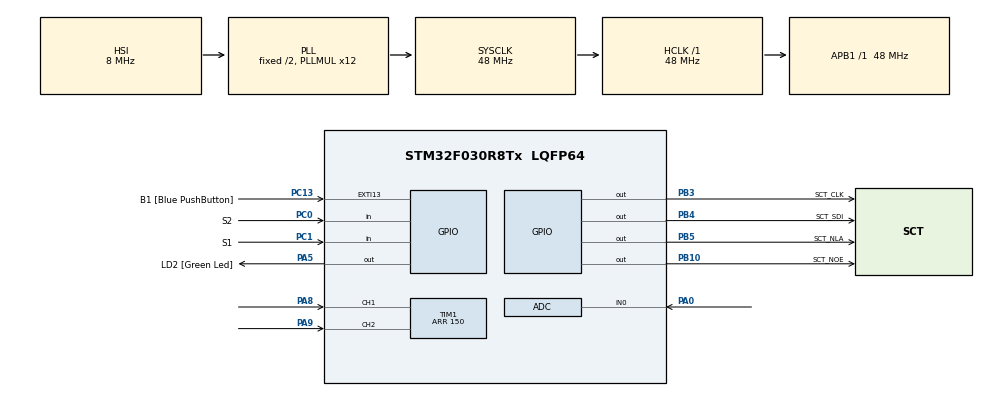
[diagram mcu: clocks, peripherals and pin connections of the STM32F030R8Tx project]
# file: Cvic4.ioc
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ADC.ContinuousConvMode=ENABLE
ADC.Overrun=ADC_OVR_DATA_OVERWRITTEN
ADC.SamplingTime=ADC_SAMPLETIME_239CYCLES_5
Mcu.Family=STM32F0
Mcu.Name=STM32F030R8Tx
Mcu.Package=LQFP64
NVIC.ADC1_IRQn=true\:0\:0\:false\:false\:true\:true\:true\:true
PA0.Mode=IN0
PA0.Signal=ADC_IN0
PA13.GPIO_Label=TMS
PA13.Mode=Serial_Wire
PA13.Signal=SYS_SWDIO
PA14.GPIO_Label=TCK
PA14.Mode=Serial_Wire
PA14.Signal=SYS_SWCLK
PA5.GPIO_Label=LD2 [Green Led]
PA5.GPIO_Mode=GPIO_MODE_OUTPUT_PP
PA5.GPIO_PuPd=GPIO_NOPULL
PA5.GPIO_Speed=GPIO_SPEED_FREQ_LOW
PA5.Signal=GPIO_Output
PA8.Signal=S_TIM1_CH1
PA9.Signal=S_TIM1_CH2
PB10.GPIO_Label=SCT_NOE
PB10.Signal=GPIO_Output
PB3.GPIO_Label=SCT_CLK
PB3.Signal=GPIO_Output
PB4.GPIO_Label=SCT_SDI
PB4.Signal=GPIO_Output
PB5.GPIO_Label=SCT_NLA
PB5.Signal=GPIO_Output
PC0.GPIO_Label=S2
PC0.GPIO_PuPd=GPIO_PULLUP
PC0.Signal=GPIO_Input
PC1.GPIO_Label=S1
PC1.GPIO_PuPd=GPIO_PULLUP
PC1.Signal=GPIO_Input
PC13.GPIO_Label=B1 [Blue PushButton]
PC13.GPIO_ModeDefaultEXTI=GPIO_MODE_IT_FALLING
PC13.Signal=GPXTI13
PC14-OSC32_IN.Mode=LSE-External-Oscillator
PC14-OSC32_IN.Signal=RCC_OSC32_IN
PC15-OSC32_OUT.Mode=LSE-External-Oscillator
PC15-OSC32_OUT.Signal=RCC_OSC32_OUT
PF0-OSC_IN.Mode=HSE-External-Clock-Source
PF0-OSC_IN.Signal=RCC_OSC_IN
PF1-OSC_OUT.Signal=RCC_OSC_OUT
ProjectManager.HeapSize=0x200
ProjectManager.StackSize=0x400
ProjectManager.TargetToolchain=STM32CubeIDE
RCC.AHBFreq_Value=48000000
RCC.APB1Freq_Value=48000000
RCC.APB1TimFreq_Value=48000000
RCC.HCLKFreq_Value=48000000
RCC.PLLMUL=RCC_PLL_MUL12
RCC.SYSCLKFreq_VALUE=48000000
RCC.SYSCLKSource=RCC_SYSCLKSOURCE_PLLCLK
SH.S_TIM1_CH1.0=TIM1_CH1,Encoder_Interface
SH.S_TIM1_CH2.0=TIM1_CH2,Encoder_Interface
TIM1.AutoReloadPreload=TIM_AUTORELOAD_PRELOAD_DISABLE
TIM1.IC1Polarity=TIM_ICPOLARITY_FALLING
TIM1.Period=150
VP_ADC_TempSens_Input.Mode=IN-TempSens
VP_ADC_Vref_Input.Mode=IN-Vrefint
board=NUCLEO-F030R8

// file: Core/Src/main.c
/* USER CODE BEGIN Header */
/**
  ******************************************************************************
  * @file           : main.c
  * @brief          : Main program body
  ******************************************************************************
  * @attention
  *
  * Copyright (c) 2022 STMicroelectronics.
  * All rights reserved.
  *
  * This software is licensed under terms that can be found in the LICENSE file
  * in the root directory of this software component.
  * If no LICENSE file comes with this software, it is provided AS-IS.
  *
  ******************************************************************************
  */
/* USER CODE END Header */
#include "main.h"

/* USER CODE BEGIN Includes */
#include "shift_reg.h"
/* USER CODE END Includes */

/* USER CODE BEGIN PD */
// max value of ADC
#define RANGE_12b 4095
// ADC exp. integration
#define ADC_Q 12

/* Temperature sensor calibration value address */
#define TEMP110_CAL_ADDR ((uint16_t*) ((uint32_t) 0x1FFFF7C2))
#define TEMP30_CAL_ADDR ((uint16_t*) ((uint32_t) 0x1FFFF7B8))
/* Internal voltage reference calibration value address */
#define VREFINT_CAL_ADDR ((uint16_t*) ((uint32_t) 0x1FFFF7BA))
#define BUTTON_REFRESH_TIME 4 //ms

#define BUTTON_S1 (1<<0)
#define BUTTON_S2 (1<<1)
// LED1
#define LED1_BIT (1<<4) //PA4
#define LED1_PORT GPIOA
// LED2
#define LED2_BIT (1<<0) //PB0
#define LED2_PORT GPIOB
// S1 button
#define S1_BIT (1<<1) //PC1
#define S1_PORT GPIOC
// S2 button
#define S2_BIT (1<<0) //PC0, EXTI0
#define S2_PORT GPIOC

#define SECOND_SCREEN_TIME 1000 //ms
/* USER CODE END PD */

ADC_HandleTypeDef hadc;

TIM_HandleTypeDef htim1;

void SystemClock_Config(void);
static void MX_GPIO_Init(void);
static void MX_TIM1_Init(void);
static void MX_ADC_Init(void);
/* USER CODE BEGIN PFP */
uint32_t map(uint32_t x, uint32_t in_min, uint32_t in_max, uint32_t out_min, uint32_t out_max) {
  return (x - in_min) * (out_max - out_min) / (in_max - in_min) + out_min;
}
/* USER CODE END PFP */

/* USER CODE BEGIN 0 */
// My callbacks
static volatile uint32_t raw_pot;
static volatile uint32_t raw_temp;
static volatile uint32_t raw_volt;

void HAL_ADC_ConvCpltCallback(ADC_HandleTypeDef* hadc)
{
	static uint8_t channel=0;
	static uint32_t avg_pot;

	switch (channel) {
		case 0: // ADC IN0 channel
			raw_pot = avg_pot >> ADC_Q;
		    avg_pot -= raw_pot;
		    avg_pot += HAL_ADC_GetValue(hadc);
			break;

		case 1: // ADC TEMP channel
			raw_temp = HAL_ADC_GetValue(hadc);
			break;

		case 2: // ADC VOLT channel
			raw_volt = HAL_ADC_GetValue(hadc);
			break;

		default:
			raw_pot = avg_pot >> ADC_Q;
			avg_pot -= raw_pot;
			avg_pot += HAL_ADC_GetValue(hadc);
			break;
	}

	if (__HAL_ADC_GET_FLAG(hadc, ADC_FLAG_EOS)) channel = 0;
	else channel++;
}
//Button operation
uint8_t read_buttons(void) {
	static uint32_t delay;

	static uint16_t debounce_s1 = 0xFFFF;
	static uint16_t debounce_s2 = 0xFFFF;
	static uint32_t pushed_buttons = 0;

	// sample every 4ms
	if (HAL_GetTick() > delay + BUTTON_REFRESH_TIME) {
		delay = uwTick;
		pushed_buttons = 0;

		// S1 debounce
		debounce_s1 <<= 1;
		if (S1_PORT->IDR & S1_BIT) debounce_s1 |= 0x0001;
		if (debounce_s1 == 0x8000 || debounce_s1 == 0) {
			// S1 operation
			pushed_buttons |= BUTTON_S1; // active on push and hold
		}

		// S2 debounce
		debounce_s2 <<= 1;
		if (S2_PORT->IDR & S2_BIT) debounce_s2 |= 0x0001;
		if (debounce_s2 == 0x8000 || debounce_s2 == 0) {
			// S2 operation
			pushed_buttons |= BUTTON_S2; // actiove on push and hold
		}
	}
	return pushed_buttons;
}

/* USER CODE END 0 */

int main(void)
{

  /* MCU Configuration--------------------------------------------------------*/

  /* Reset of all peripherals, Initializes the Flash interface and the Systick. */
  HAL_Init();

  /* Configure the system clock */
  SystemClock_Config();

  /* Initialize all configured peripherals */
  MX_GPIO_Init();
  MX_TIM1_Init();
  MX_ADC_Init();
  /* USER CODE BEGIN 2 */
  // init LED disp
  sct_init();
  sct_led(0x7A5C36DE); // show bye msg

  HAL_ADCEx_Calibration_Start(&hadc); // ADC auto calibration
  HAL_ADC_Start_IT(&hadc); // ADC start
  HAL_Delay(300);
  // todo need to be static?
  static enum { SHOW_POT, SHOW_VOLT, SHOW_TEMP } state = SHOW_POT;
  /* USER CODE END 2 */

  /* Infinite loop */
  /* USER CODE BEGIN WHILE */
  while (1)
  {

	  // convert value from ADC
	  uint32_t disp_val = map(raw_pot,0,4095,0,500);
	  uint8_t bargraf_val = map(raw_pot,0,4090,0,8);
	  if (bargraf_val > 8) bargraf_val = 8; // limit bargraf

	  // compute voltage from ADC
	  uint32_t voltage = 330 * (*VREFINT_CAL_ADDR) / raw_volt;

	  // compute temperature from ADC
	  int32_t temperature = (raw_temp - (int32_t)(*TEMP30_CAL_ADDR));
	  temperature = temperature * (int32_t)(110 - 30);
	  temperature = temperature / (int32_t)(*TEMP110_CAL_ADDR - *TEMP30_CAL_ADDR);
	  temperature = temperature + 30;

	  // read actual debounced button state
	  uint8_t pushed_buttons = read_buttons();

	  uint32_t time_off = 0; // init timer

	  // operation on buttons
	  if (pushed_buttons == BUTTON_S1) {
		  state = SHOW_TEMP; // pushed S1
		  time_off = HAL_GetTick() + SECOND_SCREEN_TIME;
	  } else if (pushed_buttons == BUTTON_S2) {
		  state = SHOW_VOLT;  // pushed S2
		  time_off = HAL_GetTick() + SECOND_SCREEN_TIME;
	  }

	  //return to home display, after while
	  if (HAL_GetTick() > time_off && state != SHOW_POT) state= SHOW_POT;

	  // display value due to actual state
	  switch (state) {
		case SHOW_POT:
		    sct_value(disp_val, bargraf_val);
			break;

		case SHOW_VOLT:
			sct_value(voltage,0);
			HAL_Delay(1000);
			break;

		case SHOW_TEMP:
			sct_value(temperature,0);
			HAL_Delay(1000);
		   break;
		default:
			break;
	}
    /* USER CODE END WHILE */

  }
}

void SystemClock_Config(void)
{
  RCC_OscInitTypeDef RCC_OscInitStruct = {0};
  RCC_ClkInitTypeDef RCC_ClkInitStruct = {0};

  /** Initializes the RCC Oscillators according to the specified parameters
  * in the RCC_OscInitTypeDef structure.
  */
  RCC_OscInitStruct.OscillatorType = RCC_OSCILLATORTYPE_HSI|RCC_OSCILLATORTYPE_HSI14;
  RCC_OscInitStruct.HSIState = RCC_HSI_ON;
  RCC_OscInitStruct.HSI14State = RCC_HSI14_ON;
  RCC_OscInitStruct.HSICalibrationValue = RCC_HSICALIBRATION_DEFAULT;
  RCC_OscInitStruct.HSI14CalibrationValue = 16;
  RCC_OscInitStruct.PLL.PLLState = RCC_PLL_ON;
  RCC_OscInitStruct.PLL.PLLSource = RCC_PLLSOURCE_HSI;
  RCC_OscInitStruct.PLL.PLLMUL = RCC_PLL_MUL12;
  RCC_OscInitStruct.PLL.PREDIV = RCC_PREDIV_DIV1;
  if (HAL_RCC_OscConfig(&RCC_OscInitStruct) != HAL_OK)
  {
    Error_Handler();
  }

  /** Initializes the CPU, AHB and APB buses clocks
  */
  RCC_ClkInitStruct.ClockType = RCC_CLOCKTYPE_HCLK|RCC_CLOCKTYPE_SYSCLK
                              |RCC_CLOCKTYPE_PCLK1;
  RCC_ClkInitStruct.SYSCLKSource = RCC_SYSCLKSOURCE_PLLCLK;
  RCC_ClkInitStruct.AHBCLKDivider = RCC_SYSCLK_DIV1;
  RCC_ClkInitStruct.APB1CLKDivider = RCC_HCLK_DIV1;

  if (HAL_RCC_ClockConfig(&RCC_ClkInitStruct, FLASH_LATENCY_1) != HAL_OK)
  {
    Error_Handler();
  }
}

static void MX_ADC_Init(void)
{

  ADC_ChannelConfTypeDef sConfig = {0};

  /** Configure the global features of the ADC (Clock, Resolution, Data Alignment and number of conversion)
  */
  hadc.Instance = ADC1;
  hadc.Init.ClockPrescaler = ADC_CLOCK_ASYNC_DIV1;
  hadc.Init.Resolution = ADC_RESOLUTION_12B;
  hadc.Init.DataAlign = ADC_DATAALIGN_RIGHT;
  hadc.Init.ScanConvMode = ADC_SCAN_DIRECTION_FORWARD;
  hadc.Init.EOCSelection = ADC_EOC_SINGLE_CONV;
  hadc.Init.LowPowerAutoWait = DISABLE;
  hadc.Init.LowPowerAutoPowerOff = DISABLE;
  hadc.Init.ContinuousConvMode = ENABLE;
  hadc.Init.DiscontinuousConvMode = DISABLE;
  hadc.Init.ExternalTrigConv = ADC_SOFTWARE_START;
  hadc.Init.ExternalTrigConvEdge = ADC_EXTERNALTRIGCONVEDGE_NONE;
  hadc.Init.DMAContinuousRequests = DISABLE;
  hadc.Init.Overrun = ADC_OVR_DATA_OVERWRITTEN;
  if (HAL_ADC_Init(&hadc) != HAL_OK)
  {
    Error_Handler();
  }

  /** Configure for the selected ADC regular channel to be converted.
  */
  sConfig.Channel = ADC_CHANNEL_0;
  sConfig.Rank = ADC_RANK_CHANNEL_NUMBER;
  sConfig.SamplingTime = ADC_SAMPLETIME_239CYCLES_5;
  if (HAL_ADC_ConfigChannel(&hadc, &sConfig) != HAL_OK)
  {
    Error_Handler();
  }

  /** Configure for the selected ADC regular channel to be converted.
  */
  sConfig.Channel = ADC_CHANNEL_TEMPSENSOR;
  if (HAL_ADC_ConfigChannel(&hadc, &sConfig) != HAL_OK)
  {
    Error_Handler();
  }

  /** Configure for the selected ADC regular channel to be converted.
  */
  sConfig.Channel = ADC_CHANNEL_VREFINT;
  if (HAL_ADC_ConfigChannel(&hadc, &sConfig) != HAL_OK)
  {
    Error_Handler();
  }

}

static void MX_TIM1_Init(void)
{

  TIM_Encoder_InitTypeDef sConfig = {0};
  TIM_MasterConfigTypeDef sMasterConfig = {0};

  htim1.Instance = TIM1;
  htim1.Init.Prescaler = 0;
  htim1.Init.CounterMode = TIM_COUNTERMODE_UP;
  htim1.Init.Period = 150;
  htim1.Init.ClockDivision = TIM_CLOCKDIVISION_DIV1;
  htim1.Init.RepetitionCounter = 0;
  htim1.Init.AutoReloadPreload = TIM_AUTORELOAD_PRELOAD_DISABLE;
  sConfig.EncoderMode = TIM_ENCODERMODE_TI1;
  sConfig.IC1Polarity = TIM_ICPOLARITY_FALLING;
  sConfig.IC1Selection = TIM_ICSELECTION_DIRECTTI;
  sConfig.IC1Prescaler = TIM_ICPSC_DIV1;
  sConfig.IC1Filter = 0;
  sConfig.IC2Polarity = TIM_ICPOLARITY_RISING;
  sConfig.IC2Selection = TIM_ICSELECTION_DIRECTTI;
  sConfig.IC2Prescaler = TIM_ICPSC_DIV1;
  sConfig.IC2Filter = 0;
  if (HAL_TIM_Encoder_Init(&htim1, &sConfig) != HAL_OK)
  {
    Error_Handler();
  }
  sMasterConfig.MasterOutputTrigger = TIM_TRGO_RESET;
  sMasterConfig.MasterSlaveMode = TIM_MASTERSLAVEMODE_DISABLE;
  if (HAL_TIMEx_MasterConfigSynchronization(&htim1, &sMasterConfig) != HAL_OK)
  {
    Error_Handler();
  }

}

static void MX_GPIO_Init(void)
{
  GPIO_InitTypeDef GPIO_InitStruct = {0};

  /* GPIO Ports Clock Enable */
  __HAL_RCC_GPIOC_CLK_ENABLE();
  __HAL_RCC_GPIOF_CLK_ENABLE();
  __HAL_RCC_GPIOA_CLK_ENABLE();
  __HAL_RCC_GPIOB_CLK_ENABLE();

  /*Configure GPIO pin Output Level */
  HAL_GPIO_WritePin(LD2_GPIO_Port, LD2_Pin, GPIO_PIN_RESET);

  /*Configure GPIO pin Output Level */
  HAL_GPIO_WritePin(GPIOB, SCT_NOE_Pin|SCT_CLK_Pin|SCT_SDI_Pin|SCT_NLA_Pin, GPIO_PIN_RESET);

  /*Configure GPIO pin : B1_Pin */
  GPIO_InitStruct.Pin = B1_Pin;
  GPIO_InitStruct.Mode = GPIO_MODE_IT_FALLING;
  GPIO_InitStruct.Pull = GPIO_NOPULL;
  HAL_GPIO_Init(B1_GPIO_Port, &GPIO_InitStruct);

  /*Configure GPIO pins : S2_Pin S1_Pin */
  GPIO_InitStruct.Pin = S2_Pin|S1_Pin;
  GPIO_InitStruct.Mode = GPIO_MODE_INPUT;
  GPIO_InitStruct.Pull = GPIO_PULLUP;
  HAL_GPIO_Init(GPIOC, &GPIO_InitStruct);

  /*Configure GPIO pin : LD2_Pin */
  GPIO_InitStruct.Pin = LD2_Pin;
  GPIO_InitStruct.Mode = GPIO_MODE_OUTPUT_PP;
  GPIO_InitStruct.Pull = GPIO_NOPULL;
  GPIO_InitStruct.Speed = GPIO_SPEED_FREQ_LOW;
  HAL_GPIO_Init(LD2_GPIO_Port, &GPIO_InitStruct);

  /*Configure GPIO pins : SCT_NOE_Pin SCT_CLK_Pin SCT_SDI_Pin SCT_NLA_Pin */
  GPIO_InitStruct.Pin = SCT_NOE_Pin|SCT_CLK_Pin|SCT_SDI_Pin|SCT_NLA_Pin;
  GPIO_InitStruct.Mode = GPIO_MODE_OUTPUT_PP;
  GPIO_InitStruct.Pull = GPIO_NOPULL;
  GPIO_InitStruct.Speed = GPIO_SPEED_FREQ_LOW;
  HAL_GPIO_Init(GPIOB, &GPIO_InitStruct);

}

void Error_Handler(void)
{
  __disable_irq();
  while (1)
  {
  }
}
